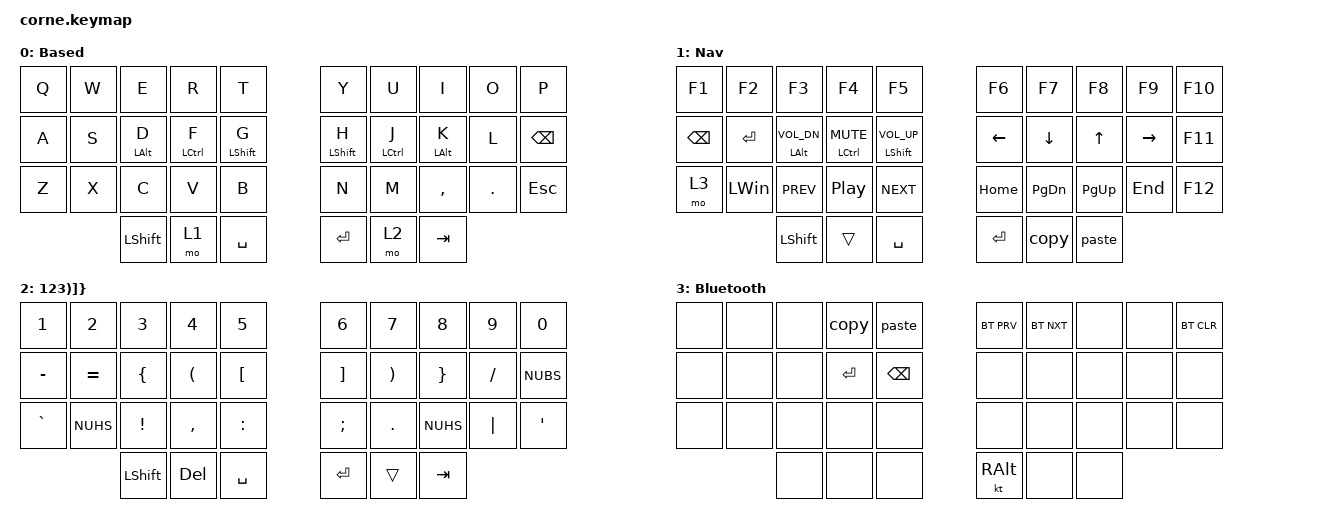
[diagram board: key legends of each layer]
/*
 * Copyright (c) 2020 The ZMK Contributors
 *
 * SPDX-License-Identifier: MIT
 */

#include <behaviors.dtsi>
#include <dt-bindings/zmk/keys.h>
#include <dt-bindings/zmk/bt.h>


#define AS(keycode) &as LS(keycode) keycode

/ {
    chosen {
      zmk,matrix_transform = &five_column_transform;
    };

    behaviors {
        ht: hold_tap {
            compatible = "zmk,behavior-hold-tap";
            #binding-cells = <2>;
            flavor = "tap-preferred";
            tapping-term-ms = <300>;
            bindings = <&kp>, <&kp>;
        };

        as: auto_shift {
            compatible = "zmk,behavior-hold-tap";
            #binding-cells = <2>;
            tapping_term_ms = <200>;
            quick_tap_ms = <0>;
            flavor = "tap-preferred";
            bindings = <&kp>, <&kp>;
        };

        copy: copy {
            compatible = "zmk,behavior-macro";
            #binding-cells = <0>;
            bindings
                = <&macro_press &kp LCTRL>
                , <&macro_tap &kp INS>
                , <&macro_release &kp LCTRL>
                ;
        };

        paste: paste {
            compatible = "zmk,behavior-macro";
            #binding-cells = <0>;
            bindings
                = <&macro_press &kp LSHFT>
                , <&macro_tap &kp INS>
                , <&macro_release &kp LSHFT>
                ;
        };
    };

    keymap {
                compatible = "zmk,keymap";

                default_layer {
// -----------------------------------------------------------------------------------------
// |  Q  |  W  |   E   |  R  |  T  |     |  Y  |  U   |  I   |  O  |  P   |
// |  A  |  S  |   D   |  F  |  G  |     |  H  |  J   |  K   |  L  | BSPC |
// |  Z  |  X  |   C   |  V  |  B  |     |  N  |  M   |  ,   | .   | ESC  |
//             | LSHFT | LWR | SPC |     | ENT | RSE  | TAB  |
                        display-name = "Based";
                        bindings = <
   &kp Q &kp W &kp E       &kp R       &kp T         &kp Y        &kp U       &kp I      &kp O   &kp P
   &kp A &kp S &ht LALT D  &ht LCTRL F &ht LSHFT G   &ht LSHFT H  &ht LCTRL J &ht LALT K &kp L   &kp BSPC
   &kp Z &kp X &kp C       &kp V       &kp B         &kp N        &kp M       &kp COMMA  &kp DOT &kp ESC
               &kp LSHIFT  &mo 1       &kp SPACE     &kp RET      &mo 2       &kp TAB
                        >;
                };

                lower_layer {
// -----------------------------------------------------------------------------------------
// | F1    | F2    | F3     | F4   | F5    |     | F6   | F7   | F8    | F9  | F10  |
// | BTPRV | BTNXT | VOLDWN | MUTE | VOLUP |     | LFT  | DWN  |  UP   | RGT | F11  |
// | BTCLR | LWIN  |  PREV  | PLAY | NEXT  |     | HOME | PGDN | PGUP  | END | F12  |
//                 | LSHFT  |      |  SPC  |     | ENT  | COPY | PASTE |
                        display-name = "Nav";
                        bindings = <
   &kp F1    &kp F2    &kp F3            &kp F4           &kp F5              &kp F6    &kp F7     &kp F8       &kp F9    &kp F10
   &kp BSPC  &kp RET   &ht LALT C_VOL_DN &ht LCTRL C_MUTE &ht LSHFT C_VOL_UP  &kp LEFT  &kp DOWN   &kp UP       &kp RIGHT &kp F11
   &mo 3     &kp LWIN  &kp C_PREV        &kp C_PP         &kp C_NEXT          &kp HOME  &kp PG_DN  &kp PG_UP    &kp END   &kp F12
                      &kp LSHIFT        &trans           &kp SPACE           &kp RET   &copy      &paste
                        >;
                };

                raise_layer {
// -----------------------------------------------------------------------------------------
// | 1! |  2@ |  3#   |  4$ |  5% |     |  6^ |  7& |  8* |  9(  |  0)  |
// | -_ |  =+ |  {    |  (  |  [  |     |  ]  |  )  |  }  |  /?  |  \|  |
// | `  |  #  |   !   |  ,< |  :  |     |  ;  |  .> |  #  |  ~   |  '   |
//            | LSHFT | DEL | SPC |     | ENT |     | TAB |
                        display-name = "123)]}";
                        bindings = <

   &kp N1    &kp N2    &kp N3     &kp N4    &kp N5        &kp N6    &kp N7    &kp N8    &kp N9   &kp N0
   &kp MINUS &kp EQUAL &kp LBRC   &kp LPAR  &kp LBKT      &kp RBKT  &kp RPAR  &kp RBRC  &kp FSLH &kp NUBS
   &kp GRAVE &kp NUHS  &kp EXCL   &kp COMMA &kp COLON     &kp SEMI  &kp DOT   &kp NUHS  &kp PIPE &kp APOS
                       &kp LSHIFT &kp DEL   &kp SPACE     &kp RET   &trans    &kp TAB
                        >;
                };

                bluetooth_layer {
// -----------------------------------------------------------------------------------------
// | 1! |  2@ |  3#   |  4$ |  5% |     |  6^ |  7& |  8* |  9(  |  0)  |
// | -_ |  =+ |  {    |  (  |  [  |     |  ]  |  )  |  }  |  /?  |  \|  |
// | `~ |  ~  |   !   |  ,< |  :  |     |  ;  |  .> |  #  |  |   |  '   |
//            | LSHFT | DEL | SPC |     | ENT |     | TAB |
                        display-name = "Bluetooth";
                        bindings = <

   &none &none &none &copy   &paste      &bt BT_PRV &bt BT_NXT &none &none &bt BT_CLR
   &none &none &none &kp RET &kp BSPC    &none      &none &none &none &none
   &none &none &none &none   &none       &none      &none &none &none &none
               &none &none   &none       &kt RALT   &none &none
                        >;
                };
        };
};
